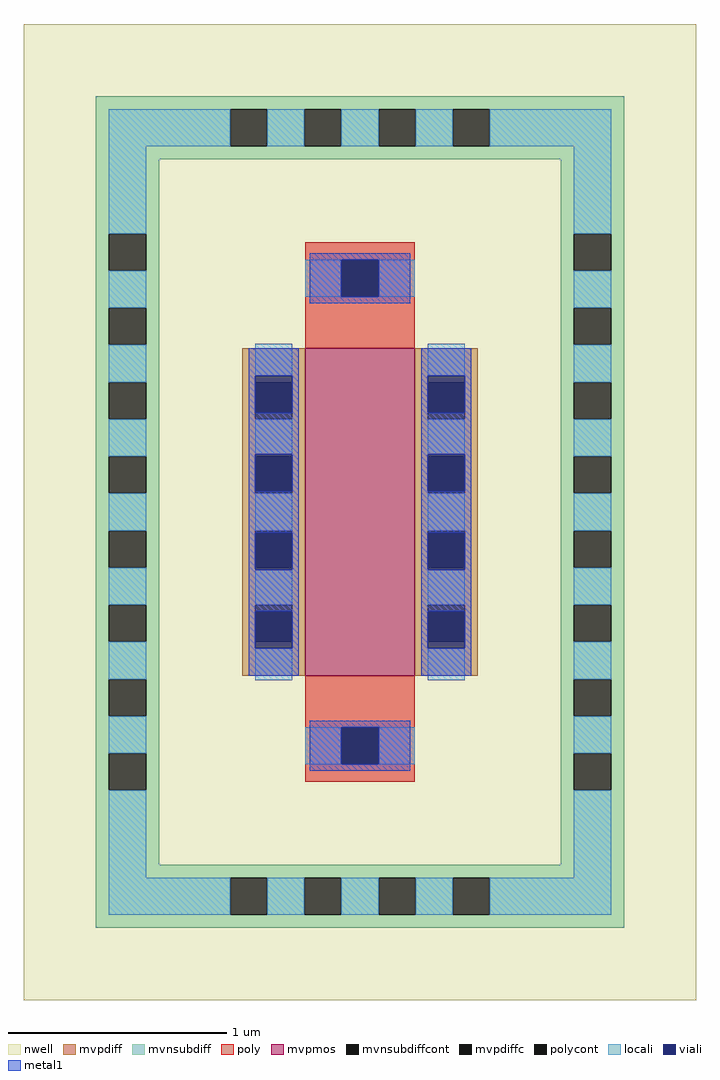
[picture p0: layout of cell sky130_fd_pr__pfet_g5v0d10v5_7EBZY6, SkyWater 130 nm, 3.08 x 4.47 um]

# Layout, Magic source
magic
tech sky130B
magscale 1 2
<< nwell >>
rect -308 -447 308 447
<< mvpmos >>
rect -50 -150 50 150
<< mvpdiff >>
rect -108 119 -50 150
rect -108 85 -96 119
rect -62 85 -50 119
rect -108 51 -50 85
rect -108 17 -96 51
rect -62 17 -50 51
rect -108 -17 -50 17
rect -108 -51 -96 -17
rect -62 -51 -50 -17
rect -108 -85 -50 -51
rect -108 -119 -96 -85
rect -62 -119 -50 -85
rect -108 -150 -50 -119
rect 50 119 108 150
rect 50 85 62 119
rect 96 85 108 119
rect 50 51 108 85
rect 50 17 62 51
rect 96 17 108 51
rect 50 -17 108 17
rect 50 -51 62 -17
rect 96 -51 108 -17
rect 50 -85 108 -51
rect 50 -119 62 -85
rect 96 -119 108 -85
rect 50 -150 108 -119
<< mvpdiffc >>
rect -96 85 -62 119
rect -96 17 -62 51
rect -96 -51 -62 -17
rect -96 -119 -62 -85
rect 62 85 96 119
rect 62 17 96 51
rect 62 -51 96 -17
rect 62 -119 96 -85
<< mvnsubdiff >>
rect -242 369 242 381
rect -242 335 -119 369
rect -85 335 -51 369
rect -17 335 17 369
rect 51 335 85 369
rect 119 335 242 369
rect -242 323 242 335
rect -242 255 -184 323
rect -242 221 -230 255
rect -196 221 -184 255
rect 184 255 242 323
rect -242 187 -184 221
rect -242 153 -230 187
rect -196 153 -184 187
rect -242 119 -184 153
rect 184 221 196 255
rect 230 221 242 255
rect 184 187 242 221
rect 184 153 196 187
rect 230 153 242 187
rect -242 85 -230 119
rect -196 85 -184 119
rect -242 51 -184 85
rect -242 17 -230 51
rect -196 17 -184 51
rect -242 -17 -184 17
rect -242 -51 -230 -17
rect -196 -51 -184 -17
rect -242 -85 -184 -51
rect -242 -119 -230 -85
rect -196 -119 -184 -85
rect -242 -153 -184 -119
rect 184 119 242 153
rect 184 85 196 119
rect 230 85 242 119
rect 184 51 242 85
rect 184 17 196 51
rect 230 17 242 51
rect 184 -17 242 17
rect 184 -51 196 -17
rect 230 -51 242 -17
rect 184 -85 242 -51
rect 184 -119 196 -85
rect 230 -119 242 -85
rect -242 -187 -230 -153
rect -196 -187 -184 -153
rect -242 -221 -184 -187
rect -242 -255 -230 -221
rect -196 -255 -184 -221
rect 184 -153 242 -119
rect 184 -187 196 -153
rect 230 -187 242 -153
rect 184 -221 242 -187
rect -242 -323 -184 -255
rect 184 -255 196 -221
rect 230 -255 242 -221
rect 184 -323 242 -255
rect -242 -335 242 -323
rect -242 -369 -119 -335
rect -85 -369 -51 -335
rect -17 -369 17 -335
rect 51 -369 85 -335
rect 119 -369 242 -335
rect -242 -381 242 -369
<< mvnsubdiffcont >>
rect -119 335 -85 369
rect -51 335 -17 369
rect 17 335 51 369
rect 85 335 119 369
rect -230 221 -196 255
rect -230 153 -196 187
rect 196 221 230 255
rect 196 153 230 187
rect -230 85 -196 119
rect -230 17 -196 51
rect -230 -51 -196 -17
rect -230 -119 -196 -85
rect 196 85 230 119
rect 196 17 230 51
rect 196 -51 230 -17
rect 196 -119 230 -85
rect -230 -187 -196 -153
rect -230 -255 -196 -221
rect 196 -187 230 -153
rect 196 -255 230 -221
rect -119 -369 -85 -335
rect -51 -369 -17 -335
rect 17 -369 51 -335
rect 85 -369 119 -335
<< poly >>
rect -50 231 50 247
rect -50 197 -17 231
rect 17 197 50 231
rect -50 150 50 197
rect -50 -197 50 -150
rect -50 -231 -17 -197
rect 17 -231 50 -197
rect -50 -247 50 -231
<< polycont >>
rect -17 197 17 231
rect -17 -231 17 -197
<< locali >>
rect -230 335 -119 369
rect -85 335 -51 369
rect -17 335 17 369
rect 51 335 85 369
rect 119 335 230 369
rect -230 255 -196 335
rect 196 255 230 335
rect -230 187 -196 221
rect -50 197 -17 231
rect 17 197 50 231
rect 196 187 230 221
rect -230 119 -196 153
rect -230 51 -196 85
rect -230 -17 -196 17
rect -230 -85 -196 -51
rect -230 -153 -196 -119
rect -96 125 -62 154
rect -96 53 -62 85
rect -96 -17 -62 17
rect -96 -85 -62 -53
rect -96 -154 -62 -125
rect 62 125 96 154
rect 62 53 96 85
rect 62 -17 96 17
rect 62 -85 96 -53
rect 62 -154 96 -125
rect 196 119 230 153
rect 196 51 230 85
rect 196 -17 230 17
rect 196 -85 230 -51
rect 196 -153 230 -119
rect -230 -221 -196 -187
rect -50 -231 -17 -197
rect 17 -231 50 -197
rect 196 -221 230 -187
rect -230 -335 -196 -255
rect 196 -335 230 -255
rect -230 -369 -119 -335
rect -85 -369 -51 -335
rect -17 -369 17 -335
rect 51 -369 85 -335
rect 119 -369 230 -335
<< viali >>
rect -17 197 17 231
rect -96 119 -62 125
rect -96 91 -62 119
rect -96 51 -62 53
rect -96 19 -62 51
rect -96 -51 -62 -19
rect -96 -53 -62 -51
rect -96 -119 -62 -91
rect -96 -125 -62 -119
rect 62 119 96 125
rect 62 91 96 119
rect 62 51 96 53
rect 62 19 96 51
rect 62 -51 96 -19
rect 62 -53 96 -51
rect 62 -119 96 -91
rect 62 -125 96 -119
rect -17 -231 17 -197
<< metal1 >>
rect -46 231 46 237
rect -46 197 -17 231
rect 17 197 46 231
rect -46 191 46 197
rect -102 125 -56 150
rect -102 91 -96 125
rect -62 91 -56 125
rect -102 53 -56 91
rect -102 19 -96 53
rect -62 19 -56 53
rect -102 -19 -56 19
rect -102 -53 -96 -19
rect -62 -53 -56 -19
rect -102 -91 -56 -53
rect -102 -125 -96 -91
rect -62 -125 -56 -91
rect -102 -150 -56 -125
rect 56 125 102 150
rect 56 91 62 125
rect 96 91 102 125
rect 56 53 102 91
rect 56 19 62 53
rect 96 19 102 53
rect 56 -19 102 19
rect 56 -53 62 -19
rect 96 -53 102 -19
rect 56 -91 102 -53
rect 56 -125 62 -91
rect 96 -125 102 -91
rect 56 -150 102 -125
rect -46 -197 46 -191
rect -46 -231 -17 -197
rect 17 -231 46 -197
rect -46 -237 46 -231
<< properties >>
string FIXED_BBOX -213 -352 213 352
<< end >>
